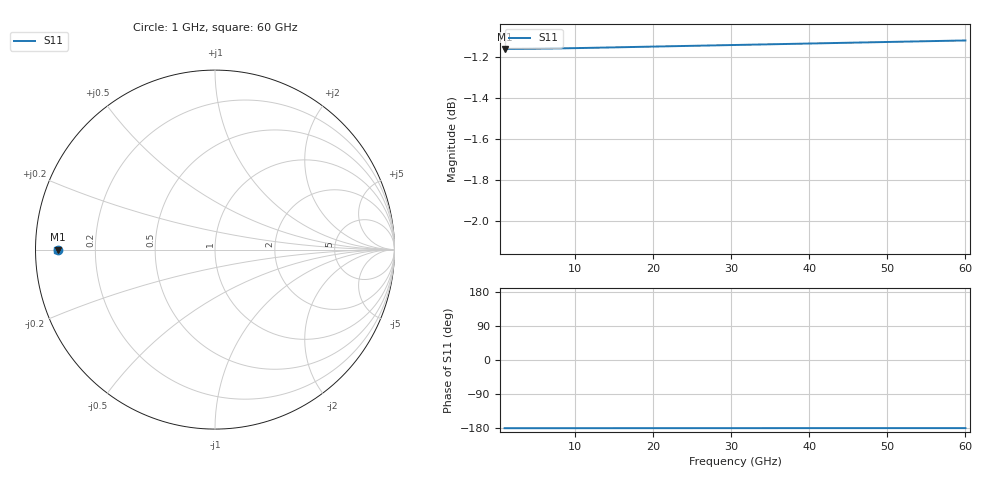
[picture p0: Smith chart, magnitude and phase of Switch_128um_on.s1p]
! Created Fri Apr 24 15:59:37 2026
# hz S ma R 50
! Port[1] TermG1
! 1 Port Network Data from SP1.SP block
! freq  magS11  angS11
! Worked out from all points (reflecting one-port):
!   60 points, 1 GHz to 60 GHz, reference 50 ohm
!   lowest |S11| = -1.2 dB at 1 GHz (marker M1), VSWR 14.98, Z = 3.34 - j0.00476 ohm
!   phase of S11 starts at -180 deg and turns +0 deg over the sweep
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1e9  0.8749 -180.0
2e9  0.8749 -180.0
3e9  0.8749 -180.0
4e9  0.8749 -180.0
5e9  0.875 -179.9
6e9  0.875 -179.9
7e9  0.8751 -179.9
8e9  0.8751 -179.9
9e9  0.8752 -179.9
1e10  0.8753 -179.9
1.2e10  0.8754 -179.9
1.4e10  0.8756 -179.9
1.6e10  0.8757 -179.9
1.8e10  0.8759 -179.8
2e10  0.876 -179.8
2.2e10  0.8762 -179.8
2.4e10  0.8763 -179.8
2.7e10  0.8765 -179.8
2.9e10  0.8767 -179.8
3.1e10  0.8768 -179.8
3.4e10  0.8771 -179.8
3.8e10  0.8774 -179.8
4.2e10  0.8777 -179.8
4.6e10  0.878 -179.7
4.9e10  0.8782 -179.7
5.3e10  0.8785 -179.7
5.6e10  0.8787 -179.7
6e10  0.879 -179.7
